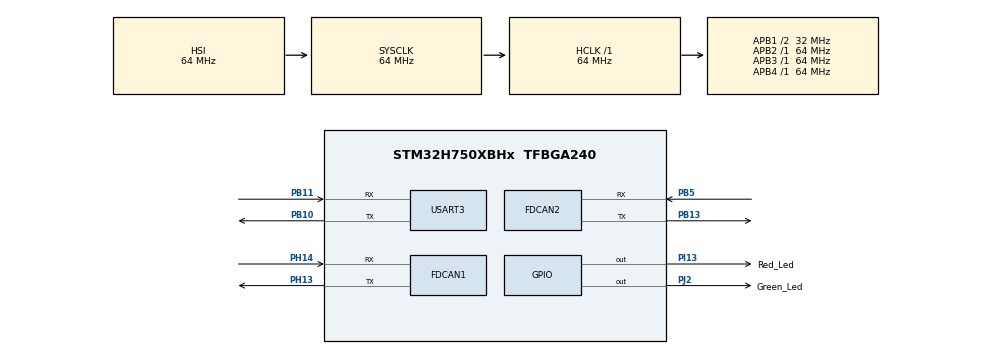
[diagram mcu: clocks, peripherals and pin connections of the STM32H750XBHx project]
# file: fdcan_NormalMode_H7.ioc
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FDCAN1.AutoRetransmission=ENABLE
FDCAN1.CalculateBaudRateNominal=500000
FDCAN1.CalculateTimeBitNominal=2000
FDCAN1.CalculateTimeQuantumNominal=20.0
FDCAN1.DataPrescaler=25
FDCAN1.DataTimeSeg1=2
FDCAN1.FrameFormat=FDCAN_FRAME_FD_NO_BRS
FDCAN1.Mode=FDCAN_MODE_NORMAL
FDCAN1.NominalPrescaler=1
FDCAN1.NominalSyncJumpWidth=13
FDCAN1.NominalTimeSeg1=86
FDCAN1.NominalTimeSeg2=13
FDCAN1.RxFifo0ElmtSize=FDCAN_DATA_BYTES_12
FDCAN1.RxFifo0ElmtsNbr=1
FDCAN1.StdFiltersNbr=1
FDCAN1.TxElmtSize=FDCAN_DATA_BYTES_12
FDCAN1.TxFifoQueueElmtsNbr=1
FDCAN2.AutoRetransmission=ENABLE
FDCAN2.CalculateBaudRateNominal=500000
FDCAN2.CalculateTimeBitNominal=2000
FDCAN2.CalculateTimeQuantumNominal=20.0
FDCAN2.DataPrescaler=25
FDCAN2.DataTimeSeg1=2
FDCAN2.FrameFormat=FDCAN_FRAME_FD_NO_BRS
FDCAN2.MessageRAMOffset=11
FDCAN2.NominalPrescaler=1
FDCAN2.NominalSyncJumpWidth=13
FDCAN2.NominalTimeSeg1=86
FDCAN2.NominalTimeSeg2=13
FDCAN2.RxFifo0ElmtSize=FDCAN_DATA_BYTES_8
FDCAN2.RxFifo0ElmtsNbr=0
FDCAN2.RxFifo1ElmtSize=FDCAN_DATA_BYTES_12
FDCAN2.RxFifo1ElmtsNbr=1
FDCAN2.StdFiltersNbr=1
FDCAN2.TxElmtSize=FDCAN_DATA_BYTES_12
FDCAN2.TxFifoQueueElmtsNbr=1
Mcu.Family=STM32H7
Mcu.Name=STM32H750XBHx
Mcu.Package=TFBGA240
NVIC.FDCAN1_IT0_IRQn=true\:0\:0\:false\:false\:true\:true\:true\:true
NVIC.FDCAN2_IT0_IRQn=true\:0\:0\:false\:false\:true\:true\:true\:true
NVIC.PriorityGroup=NVIC_PRIORITYGROUP_4
PB10.Mode=Asynchronous
PB10.Signal=USART3_TX
PB11.Mode=Asynchronous
PB11.Signal=USART3_RX
PB13.Mode=FDCAN_Activate
PB13.Signal=FDCAN2_TX
PB5.Mode=FDCAN_Activate
PB5.Signal=FDCAN2_RX
PH13.Mode=FDCAN_Activate
PH13.Signal=FDCAN1_TX
PH14.Mode=FDCAN_Activate
PH14.Signal=FDCAN1_RX
PI13.GPIO_Label=Red_Led
PI13.Signal=GPIO_Output
PJ2.GPIO_Label=Green_Led
PJ2.Signal=GPIO_Output
ProjectManager.HeapSize=0x200
ProjectManager.StackSize=0x400
ProjectManager.TargetToolchain=STM32CubeIDE
RCC.ADCFreq_Value=96000000
RCC.APB1Freq_Value=32000000
RCC.APB2Freq_Value=64000000
RCC.APB3Freq_Value=64000000
RCC.APB4Freq_Value=64000000
RCC.CortexFreq_Value=64000000
RCC.D2PPRE1=RCC_APB1_DIV2
RCC.DIVM1=4
RCC.DIVM2=2
RCC.DIVN1=9
RCC.DIVN2=12
RCC.DIVP2=4
RCC.DIVQ1=3
RCC.HCLKFreq_Value=64000000
RCC.PLL2FRACN=0
RCC.PLL3FRACN=0
RCC.PLLFRACN=3072
RCC.SYSCLKFreq_VALUE=64000000
RCC.USBFreq_Value=50000000
USART3.VirtualMode-Asynchronous=VM_ASYNC
VP_MEMORYMAP_VS_MEMORYMAP.Mode=CurAppReg
board=STM32H750B-DK

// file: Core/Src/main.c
/* USER CODE BEGIN Header */
/**
  ******************************************************************************
  * @file           : main.c
  * @brief          : Main program body
  ******************************************************************************
  * @attention
  *
  * Copyright (c) 2026 STMicroelectronics.
  * All rights reserved.
  *
  * This software is licensed under terms that can be found in the LICENSE file
  * in the root directory of this software component.
  * If no LICENSE file comes with this software, it is provided AS-IS.
  *
  ******************************************************************************
  */
/* USER CODE END Header */
#include "main.h"

/* USER CODE BEGIN Includes */
#include "stdio.h"
#include "string.h"
/* USER CODE END Includes */

FDCAN_HandleTypeDef hfdcan1;
FDCAN_HandleTypeDef hfdcan2;

UART_HandleTypeDef huart3;

void SystemClock_Config(void);
static void MX_GPIO_Init(void);
static void MX_FDCAN1_Init(void);
static void MX_FDCAN2_Init(void);
static void MX_USART3_UART_Init(void);

/* USER CODE BEGIN 0 */
// FDCAN1 Defines
FDCAN_TxHeaderTypeDef   TxHeader1;
FDCAN_RxHeaderTypeDef   RxHeader1;
uint8_t               TxData1[12];
uint8_t               RxData1[12];

// FDCAN2 Defines
FDCAN_TxHeaderTypeDef   TxHeader2;
FDCAN_RxHeaderTypeDef   RxHeader2;
uint8_t               TxData2[12];
uint8_t               RxData2[12];

int indx = 0;

// FDCAN2 Callback
void HAL_FDCAN_RxFifo1Callback(FDCAN_HandleTypeDef *hfdcan, uint32_t RxFifo1ITs)
{
  if((RxFifo1ITs & FDCAN_IT_RX_FIFO1_NEW_MESSAGE) != RESET)
  {
    /* Retreive Rx messages from RX FIFO0 */
    if (HAL_FDCAN_GetRxMessage(hfdcan, FDCAN_RX_FIFO1, &RxHeader2, RxData2) != HAL_OK)
    {
    /* Reception Error */
    Error_Handler();
    }

    if (HAL_FDCAN_ActivateNotification(hfdcan, FDCAN_IT_RX_FIFO1_NEW_MESSAGE, 0) != HAL_OK)
    {
      /* Notification Error */
      Error_Handler();
    }

	  sprintf ((char *)TxData2, "PONG %d", indx++);

	  char uartBuf[100];
	  sprintf(uartBuf, "Received from FDCAN1: %.*s\r\n", 12, RxData2);

	  HAL_UART_Transmit(&huart3, (uint8_t*)uartBuf, strlen(uartBuf), 100);

	  if (HAL_FDCAN_AddMessageToTxFifoQ(&hfdcan2, &TxHeader2, TxData2)!= HAL_OK)
	  {
		  Error_Handler();
	  }

  }
}

// FDCAN1 Callback
void HAL_FDCAN_RxFifo0Callback(FDCAN_HandleTypeDef *hfdcan, uint32_t RxFifo0ITs)
{
  if((RxFifo0ITs & FDCAN_IT_RX_FIFO0_NEW_MESSAGE) != RESET)
  {
    /* Retreive Rx messages from RX FIFO0 */
    if (HAL_FDCAN_GetRxMessage(hfdcan, FDCAN_RX_FIFO0, &RxHeader1, RxData1) != HAL_OK)
    {
    /* Reception Error */
    Error_Handler();
    }

    char uartBuf[100];
    sprintf(uartBuf, "Received from FDCAN2: %.*s\r\n", 12, RxData1);

    HAL_UART_Transmit(&huart3, (uint8_t*)uartBuf, strlen(uartBuf), 100);

    if (HAL_FDCAN_ActivateNotification(hfdcan, FDCAN_IT_RX_FIFO0_NEW_MESSAGE, 0) != HAL_OK)
    {
      /* Notification Error */
      Error_Handler();
    }

  }
}

/* USER CODE END 0 */

int main(void)
{

  /* MCU Configuration--------------------------------------------------------*/

  /* Reset of all peripherals, Initializes the Flash interface and the Systick. */
  HAL_Init();

  /* Configure the system clock */
  SystemClock_Config();

  /* Initialize all configured peripherals */
  MX_GPIO_Init();
  MX_FDCAN1_Init();
  MX_FDCAN2_Init();
  MX_USART3_UART_Init();
  /* USER CODE BEGIN 2 */

  /*uart test*/
 // HAL_UART_Transmit(&huart3, (uint8_t*)"Hello\r\n", 7, 100);

  // STart FDCAN1
  if(HAL_FDCAN_Start(&hfdcan1)!= HAL_OK)
  {
   Error_Handler();
  }

  // STart FDCAN2
  if(HAL_FDCAN_Start(&hfdcan2)!= HAL_OK)
  {
   Error_Handler();
  }

  // Activate the notification for new data in FIFO0 for FDCAN1
  if (HAL_FDCAN_ActivateNotification(&hfdcan1, FDCAN_IT_RX_FIFO0_NEW_MESSAGE, 0) != HAL_OK)
  {
    /* Notification Error */
    Error_Handler();
  }

  // Activate the notification for new data in FIFO1 for FDCAN2
  if (HAL_FDCAN_ActivateNotification(&hfdcan2, FDCAN_IT_RX_FIFO1_NEW_MESSAGE, 0) != HAL_OK)
  {
    /* Notification Error */
    Error_Handler();
  }

  // Configure TX Header for FDCAN1
  TxHeader1.Identifier = 0x11;
  TxHeader1.IdType = FDCAN_STANDARD_ID;
  TxHeader1.TxFrameType = FDCAN_DATA_FRAME;
  TxHeader1.DataLength = FDCAN_DLC_BYTES_12;
  TxHeader1.ErrorStateIndicator = FDCAN_ESI_ACTIVE;
  TxHeader1.BitRateSwitch = FDCAN_BRS_OFF;
  TxHeader1.FDFormat = FDCAN_FD_CAN;
  TxHeader1.TxEventFifoControl = FDCAN_NO_TX_EVENTS;
  TxHeader1.MessageMarker = 0;

  // Configure TX Header for FDCAN2
  TxHeader2.Identifier = 0x22;
  TxHeader2.IdType = FDCAN_STANDARD_ID;
  TxHeader2.TxFrameType = FDCAN_DATA_FRAME;
  TxHeader2.DataLength = FDCAN_DLC_BYTES_12;
  TxHeader2.ErrorStateIndicator = FDCAN_ESI_ACTIVE;
  TxHeader2.BitRateSwitch = FDCAN_BRS_OFF;
  TxHeader2.FDFormat = FDCAN_FD_CAN;
  TxHeader2.TxEventFifoControl = FDCAN_NO_TX_EVENTS;
  TxHeader2.MessageMarker = 0;

  /* USER CODE END 2 */

  /* Infinite loop */
  /* USER CODE BEGIN WHILE */
  while (1)
  {
	  sprintf ((char *)TxData1, "PING %d", indx++);

	  if (HAL_FDCAN_AddMessageToTxFifoQ(&hfdcan1, &TxHeader1, TxData1)!= HAL_OK)
	  {
	   Error_Handler();
	  }

	  /*
      char uartBuf[100];
      sprintf(uartBuf, "sent from FDCAN1: %.*s\r\n", 12, TxData1);

	  HAL_UART_Transmit(&huart3, (uint8_t*)uartBuf, strlen(uartBuf), 100);
	  */
	  HAL_Delay (10);
    /* USER CODE END WHILE */

  }
}

void SystemClock_Config(void)
{
  RCC_OscInitTypeDef RCC_OscInitStruct = {0};
  RCC_ClkInitTypeDef RCC_ClkInitStruct = {0};

  /** Supply configuration update enable
  */
  HAL_PWREx_ConfigSupply(PWR_LDO_SUPPLY);

  /** Configure the main internal regulator output voltage
  */
  __HAL_PWR_VOLTAGESCALING_CONFIG(PWR_REGULATOR_VOLTAGE_SCALE3);

  while(!__HAL_PWR_GET_FLAG(PWR_FLAG_VOSRDY)) {}

  /** Initializes the RCC Oscillators according to the specified parameters
  * in the RCC_OscInitTypeDef structure.
  */
  RCC_OscInitStruct.OscillatorType = RCC_OSCILLATORTYPE_HSI;
  RCC_OscInitStruct.HSIState = RCC_HSI_DIV1;
  RCC_OscInitStruct.HSICalibrationValue = RCC_HSICALIBRATION_DEFAULT;
  RCC_OscInitStruct.PLL.PLLState = RCC_PLL_ON;
  RCC_OscInitStruct.PLL.PLLSource = RCC_PLLSOURCE_HSI;
  RCC_OscInitStruct.PLL.PLLM = 4;
  RCC_OscInitStruct.PLL.PLLN = 9;
  RCC_OscInitStruct.PLL.PLLP = 2;
  RCC_OscInitStruct.PLL.PLLQ = 3;
  RCC_OscInitStruct.PLL.PLLR = 2;
  RCC_OscInitStruct.PLL.PLLRGE = RCC_PLL1VCIRANGE_3;
  RCC_OscInitStruct.PLL.PLLVCOSEL = RCC_PLL1VCOMEDIUM;
  RCC_OscInitStruct.PLL.PLLFRACN = 3072;
  if (HAL_RCC_OscConfig(&RCC_OscInitStruct) != HAL_OK)
  {
    Error_Handler();
  }

  /** Initializes the CPU, AHB and APB buses clocks
  */
  RCC_ClkInitStruct.ClockType = RCC_CLOCKTYPE_HCLK|RCC_CLOCKTYPE_SYSCLK
                              |RCC_CLOCKTYPE_PCLK1|RCC_CLOCKTYPE_PCLK2
                              |RCC_CLOCKTYPE_D3PCLK1|RCC_CLOCKTYPE_D1PCLK1;
  RCC_ClkInitStruct.SYSCLKSource = RCC_SYSCLKSOURCE_HSI;
  RCC_ClkInitStruct.SYSCLKDivider = RCC_SYSCLK_DIV1;
  RCC_ClkInitStruct.AHBCLKDivider = RCC_HCLK_DIV1;
  RCC_ClkInitStruct.APB3CLKDivider = RCC_APB3_DIV1;
  RCC_ClkInitStruct.APB1CLKDivider = RCC_APB1_DIV2;
  RCC_ClkInitStruct.APB2CLKDivider = RCC_APB2_DIV1;
  RCC_ClkInitStruct.APB4CLKDivider = RCC_APB4_DIV1;

  if (HAL_RCC_ClockConfig(&RCC_ClkInitStruct, FLASH_LATENCY_1) != HAL_OK)
  {
    Error_Handler();
  }
}

static void MX_FDCAN1_Init(void)
{

  hfdcan1.Instance = FDCAN1;
  hfdcan1.Init.FrameFormat = FDCAN_FRAME_FD_NO_BRS;
  hfdcan1.Init.Mode = FDCAN_MODE_NORMAL;
  hfdcan1.Init.AutoRetransmission = ENABLE;
  hfdcan1.Init.TransmitPause = DISABLE;
  hfdcan1.Init.ProtocolException = DISABLE;
  hfdcan1.Init.NominalPrescaler = 1;
  hfdcan1.Init.NominalSyncJumpWidth = 13;
  hfdcan1.Init.NominalTimeSeg1 = 86;
  hfdcan1.Init.NominalTimeSeg2 = 13;
  hfdcan1.Init.DataPrescaler = 25;
  hfdcan1.Init.DataSyncJumpWidth = 1;
  hfdcan1.Init.DataTimeSeg1 = 2;
  hfdcan1.Init.DataTimeSeg2 = 1;
  hfdcan1.Init.MessageRAMOffset = 0;
  hfdcan1.Init.StdFiltersNbr = 1;
  hfdcan1.Init.ExtFiltersNbr = 0;
  hfdcan1.Init.RxFifo0ElmtsNbr = 1;
  hfdcan1.Init.RxFifo0ElmtSize = FDCAN_DATA_BYTES_12;
  hfdcan1.Init.RxFifo1ElmtsNbr = 0;
  hfdcan1.Init.RxFifo1ElmtSize = FDCAN_DATA_BYTES_8;
  hfdcan1.Init.RxBuffersNbr = 0;
  hfdcan1.Init.RxBufferSize = FDCAN_DATA_BYTES_8;
  hfdcan1.Init.TxEventsNbr = 0;
  hfdcan1.Init.TxBuffersNbr = 0;
  hfdcan1.Init.TxFifoQueueElmtsNbr = 1;
  hfdcan1.Init.TxFifoQueueMode = FDCAN_TX_FIFO_OPERATION;
  hfdcan1.Init.TxElmtSize = FDCAN_DATA_BYTES_12;
  if (HAL_FDCAN_Init(&hfdcan1) != HAL_OK)
  {
    Error_Handler();
  }
  /* USER CODE BEGIN FDCAN1_Init 2 */
  FDCAN_FilterTypeDef sFilterConfig;

  sFilterConfig.IdType = FDCAN_STANDARD_ID;
  sFilterConfig.FilterIndex = 0;
  sFilterConfig.FilterType = FDCAN_FILTER_MASK;
  sFilterConfig.FilterConfig = FDCAN_FILTER_TO_RXFIFO0;
  sFilterConfig.FilterID1 = 0x22;
  sFilterConfig.FilterID2 = 0x22;
  sFilterConfig.RxBufferIndex = 0;
  if (HAL_FDCAN_ConfigFilter(&hfdcan1, &sFilterConfig) != HAL_OK)
  {
    /* Filter configuration Error */
    Error_Handler();
  }

  /* USER CODE END FDCAN1_Init 2 */

}

static void MX_FDCAN2_Init(void)
{

  hfdcan2.Instance = FDCAN2;
  hfdcan2.Init.FrameFormat = FDCAN_FRAME_FD_NO_BRS;
  hfdcan2.Init.Mode = FDCAN_MODE_NORMAL;
  hfdcan2.Init.AutoRetransmission = ENABLE;
  hfdcan2.Init.TransmitPause = DISABLE;
  hfdcan2.Init.ProtocolException = DISABLE;
  hfdcan2.Init.NominalPrescaler = 1;
  hfdcan2.Init.NominalSyncJumpWidth = 13;
  hfdcan2.Init.NominalTimeSeg1 = 86;
  hfdcan2.Init.NominalTimeSeg2 = 13;
  hfdcan2.Init.DataPrescaler = 25;
  hfdcan2.Init.DataSyncJumpWidth = 1;
  hfdcan2.Init.DataTimeSeg1 = 2;
  hfdcan2.Init.DataTimeSeg2 = 1;
  hfdcan2.Init.MessageRAMOffset = 11;
  hfdcan2.Init.StdFiltersNbr = 1;
  hfdcan2.Init.ExtFiltersNbr = 0;
  hfdcan2.Init.RxFifo0ElmtsNbr = 0;
  hfdcan2.Init.RxFifo0ElmtSize = FDCAN_DATA_BYTES_8;
  hfdcan2.Init.RxFifo1ElmtsNbr = 1;
  hfdcan2.Init.RxFifo1ElmtSize = FDCAN_DATA_BYTES_12;
  hfdcan2.Init.RxBuffersNbr = 0;
  hfdcan2.Init.RxBufferSize = FDCAN_DATA_BYTES_8;
  hfdcan2.Init.TxEventsNbr = 0;
  hfdcan2.Init.TxBuffersNbr = 0;
  hfdcan2.Init.TxFifoQueueElmtsNbr = 1;
  hfdcan2.Init.TxFifoQueueMode = FDCAN_TX_FIFO_OPERATION;
  hfdcan2.Init.TxElmtSize = FDCAN_DATA_BYTES_12;
  if (HAL_FDCAN_Init(&hfdcan2) != HAL_OK)
  {
    Error_Handler();
  }
  /* USER CODE BEGIN FDCAN2_Init 2 */
  FDCAN_FilterTypeDef sFilterConfig;

  sFilterConfig.IdType = FDCAN_STANDARD_ID;
  sFilterConfig.FilterIndex = 0;
  sFilterConfig.FilterType = FDCAN_FILTER_MASK;
  sFilterConfig.FilterConfig = FDCAN_FILTER_TO_RXFIFO1;
  sFilterConfig.FilterID1 = 0x11;
  sFilterConfig.FilterID2 = 0x11;
  sFilterConfig.RxBufferIndex = 0;
  if (HAL_FDCAN_ConfigFilter(&hfdcan2, &sFilterConfig) != HAL_OK)
  {
    /* Filter configuration Error */
    Error_Handler();
  }

  /* USER CODE END FDCAN2_Init 2 */

}

static void MX_USART3_UART_Init(void)
{

  huart3.Instance = USART3;
  huart3.Init.BaudRate = 115200;
  huart3.Init.WordLength = UART_WORDLENGTH_8B;
  huart3.Init.StopBits = UART_STOPBITS_1;
  huart3.Init.Parity = UART_PARITY_NONE;
  huart3.Init.Mode = UART_MODE_TX_RX;
  huart3.Init.HwFlowCtl = UART_HWCONTROL_NONE;
  huart3.Init.OverSampling = UART_OVERSAMPLING_16;
  huart3.Init.OneBitSampling = UART_ONE_BIT_SAMPLE_DISABLE;
  huart3.Init.ClockPrescaler = UART_PRESCALER_DIV1;
  huart3.AdvancedInit.AdvFeatureInit = UART_ADVFEATURE_NO_INIT;
  if (HAL_UART_Init(&huart3) != HAL_OK)
  {
    Error_Handler();
  }
  if (HAL_UARTEx_SetTxFifoThreshold(&huart3, UART_TXFIFO_THRESHOLD_1_8) != HAL_OK)
  {
    Error_Handler();
  }
  if (HAL_UARTEx_SetRxFifoThreshold(&huart3, UART_RXFIFO_THRESHOLD_1_8) != HAL_OK)
  {
    Error_Handler();
  }
  if (HAL_UARTEx_DisableFifoMode(&huart3) != HAL_OK)
  {
    Error_Handler();
  }

}

static void MX_GPIO_Init(void)
{
  GPIO_InitTypeDef GPIO_InitStruct = {0};

  /* GPIO Ports Clock Enable */
  __HAL_RCC_GPIOB_CLK_ENABLE();
  __HAL_RCC_GPIOH_CLK_ENABLE();
  __HAL_RCC_GPIOI_CLK_ENABLE();
  __HAL_RCC_GPIOJ_CLK_ENABLE();

  /*Configure GPIO pin Output Level */
  HAL_GPIO_WritePin(Red_Led_GPIO_Port, Red_Led_Pin, GPIO_PIN_RESET);

  /*Configure GPIO pin Output Level */
  HAL_GPIO_WritePin(Green_Led_GPIO_Port, Green_Led_Pin, GPIO_PIN_RESET);

  /*Configure GPIO pin : Red_Led_Pin */
  GPIO_InitStruct.Pin = Red_Led_Pin;
  GPIO_InitStruct.Mode = GPIO_MODE_OUTPUT_PP;
  GPIO_InitStruct.Pull = GPIO_NOPULL;
  GPIO_InitStruct.Speed = GPIO_SPEED_FREQ_LOW;
  HAL_GPIO_Init(Red_Led_GPIO_Port, &GPIO_InitStruct);

  /*Configure GPIO pin : Green_Led_Pin */
  GPIO_InitStruct.Pin = Green_Led_Pin;
  GPIO_InitStruct.Mode = GPIO_MODE_OUTPUT_PP;
  GPIO_InitStruct.Pull = GPIO_NOPULL;
  GPIO_InitStruct.Speed = GPIO_SPEED_FREQ_LOW;
  HAL_GPIO_Init(Green_Led_GPIO_Port, &GPIO_InitStruct);

}

void Error_Handler(void)
{
  __disable_irq();
  while (1)
  {
  }
}
